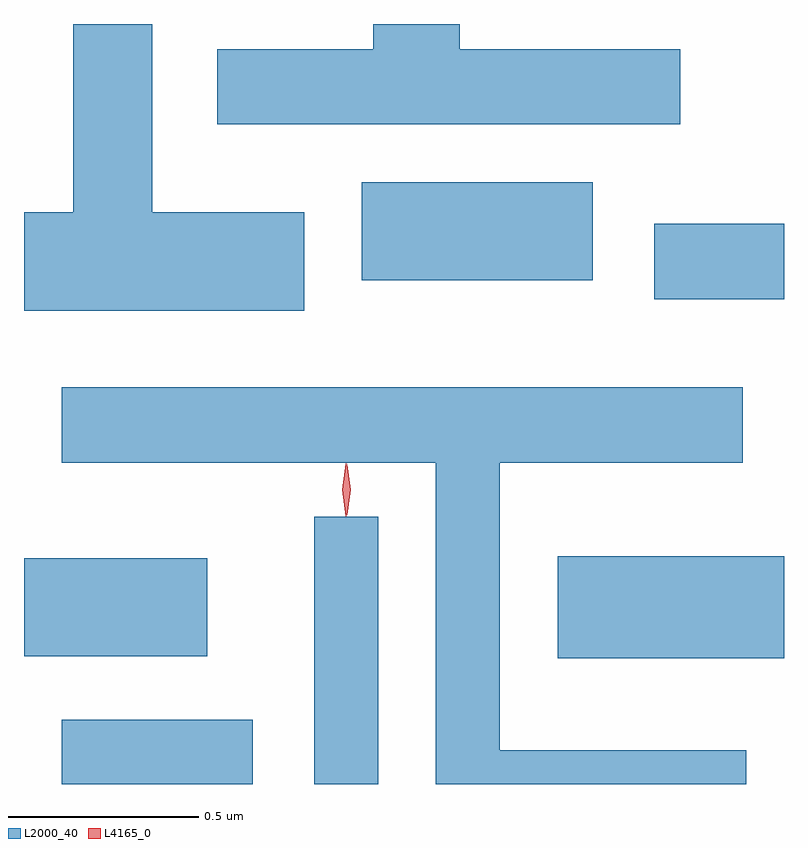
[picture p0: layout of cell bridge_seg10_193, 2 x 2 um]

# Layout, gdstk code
import gdstk
lib = gdstk.Library(unit=1e-6, precision=1e-09)
def R(c, l, rs):  # rectangles x0, y0, x1, y1
    for r in rs: c.add(gdstk.rectangle(r[:2], r[2:], *l))
def P(c, l, *ps):  # polygons
    for p in ps: c.add(gdstk.Polygon(p, *l))
L2000_40 = (2000, 40)
L4165_0 = (4165, 0)

bridge_seg10_193 = lib.new_cell('bridge_seg10_193')
R(bridge_seg10_193, L2000_40, [(1832.726,2141.47,1833.229,2141.639), (1833.391,2141.47,1833.559,2142.173), (1834.031,2141.801,1834.627,2142.069), (1832.627,2141.806,1833.109,2142.064), (1834.286,2142.746,1834.627,2142.944), (1833.516,2142.796,1834.124,2143.054)])
P(bridge_seg10_193, L2000_40, [(1834.354,2143.404),(1833.774,2143.404),(1833.774,2143.47),(1833.546,2143.47),(1833.546,2143.404),(1833.136,2143.404),(1833.136,2143.206),(1834.354,2143.206)],
  [(1833.364,2142.974),(1832.964,2142.974),(1832.964,2143.47),(1832.756,2143.47),(1832.756,2142.974),(1832.627,2142.974),(1832.627,2142.716),(1833.364,2142.716)],
  [(1834.528,2141.559),(1833.879,2141.559),(1833.879,2142.316),(1834.519,2142.316),(1834.519,2142.514),(1832.726,2142.514),(1832.726,2142.316),(1833.711,2142.316),(1833.711,2141.47),(1834.528,2141.47)])
P(bridge_seg10_193, L4165_0, [(1833.475,2142.174),(1833.474,2142.175),(1833.465,2142.244),(1833.474,2142.313),(1833.475,2142.314),(1833.475,2142.313),(1833.485,2142.244),(1833.475,2142.175)],
  [(1833.476,2142.178),(1833.467,2142.244),(1833.477,2142.31),(1833.477,2142.311),(1833.478,2142.31),(1833.487,2142.244),(1833.477,2142.178),(1833.477,2142.178)])

lib.write_gds('bridge_seg10_193.gds')
